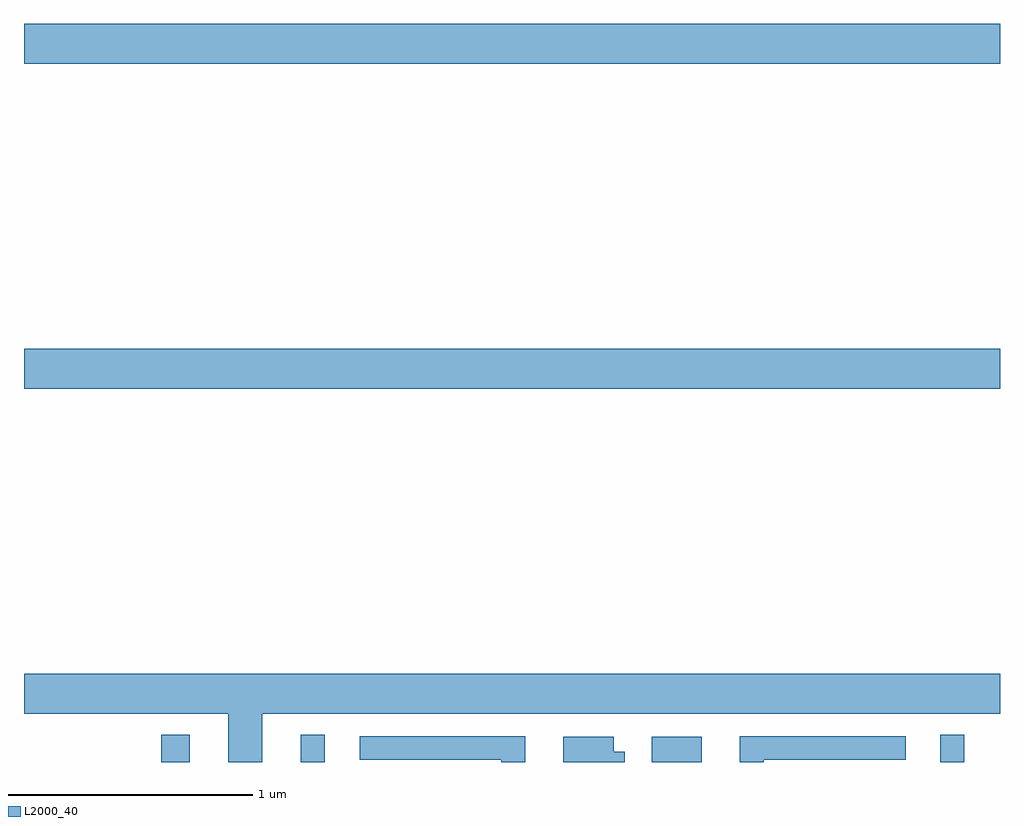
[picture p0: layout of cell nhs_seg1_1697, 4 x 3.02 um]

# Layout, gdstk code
import gdstk
lib = gdstk.Library(unit=1e-6, precision=1e-09)
def R(c, l, rs):  # rectangles x0, y0, x1, y1
    for r in rs: c.add(gdstk.rectangle(r[:2], r[2:], *l))
def P(c, l, *ps):  # polygons
    for p in ps: c.add(gdstk.Polygon(p, *l))
L2000_40 = (2000, 40)

nhs_seg1_1697 = lib.new_cell('nhs_seg1_1697')
R(nhs_seg1_1697, L2000_40, [(203.563,554.199,203.68,554.311), (204.134,554.199,204.232,554.311), (205.572,554.199,205.777,554.302), (206.756,554.199,206.854,554.311), (203,555.728,207,555.892), (203,557.06,207,557.224)])
P(nhs_seg1_1697, L2000_40, [(203.977,554.396),(207,554.396),(207,554.56),(203,554.56),(203,554.396),(203.837,554.396),(203.837,554.199),(203.977,554.199)],
  [(205.054,554.304),(204.375,554.304),(204.375,554.208),(204.956,554.208),(204.956,554.199),(205.054,554.199)],
  [(206.032,554.208),(206.614,554.208),(206.614,554.304),(205.934,554.304),(205.934,554.199),(206.032,554.199)],
  [(205.462,554.242),(205.417,554.242),(205.417,554.302),(205.211,554.302),(205.211,554.199),(205.462,554.199)])

lib.write_gds('nhs_seg1_1697.gds')
